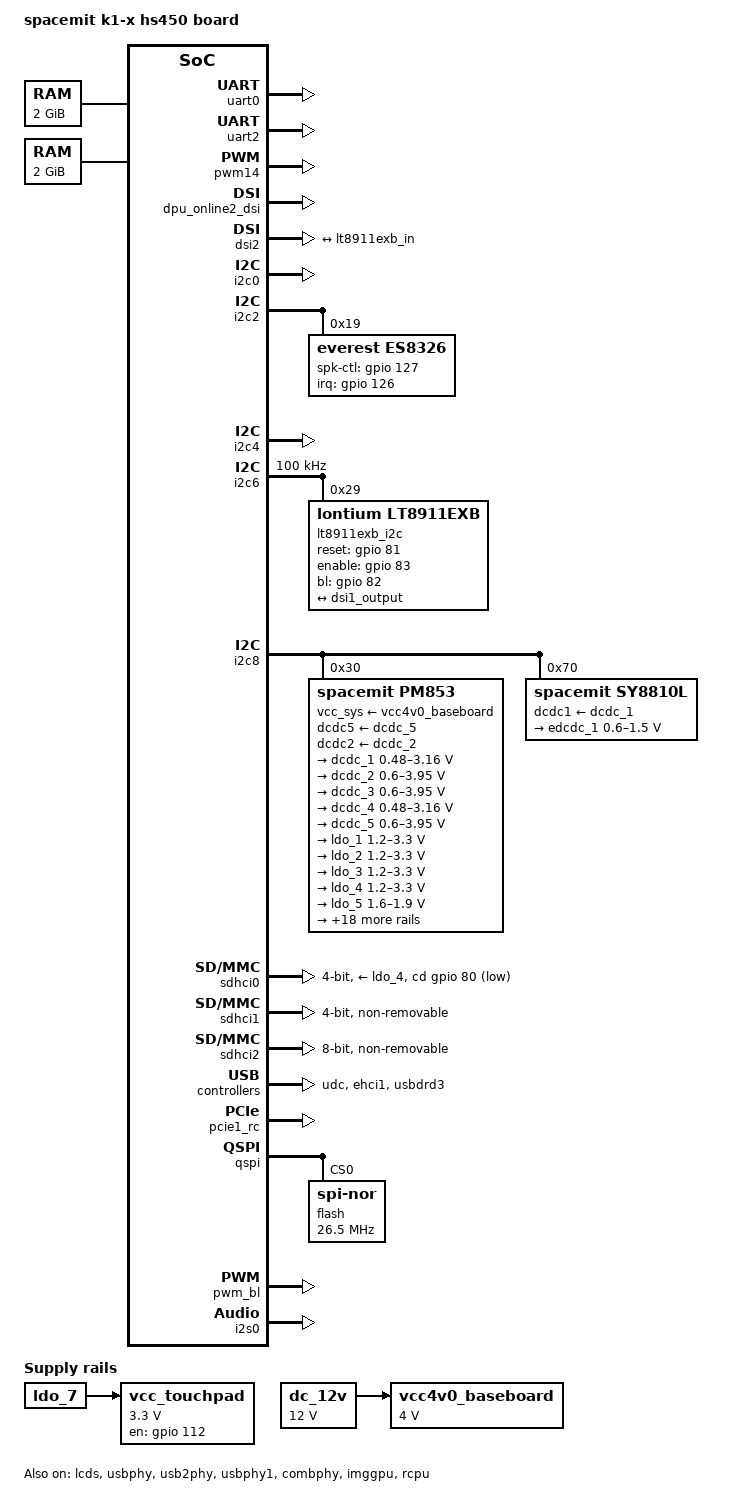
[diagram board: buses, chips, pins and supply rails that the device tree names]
// SPDX-License-Identifier: (GPL-2.0 OR MIT)
/* Copyright (c) 2023 Spacemit, Inc */

/dts-v1/;

#include "k1-x.dtsi"
#include "k1-x_pinctrl.dtsi"
#include "lcd/lcd_lt8911_edp_1920x1200.dtsi"
#include "k1-x-lcd.dtsi"
#include "k1-x-hdmi.dtsi"

/ {
	model = "spacemit k1-x hs450 board";

	cpus: cpus {
		#address-cells = <1>;
		#size-cells = <0>;
		timebase-frequency = <24000000>;

		cpu_0: cpu@0 {
			cpu-ai = "true";
		};

		cpu_1: cpu@1 {
			cpu-ai = "true";
		};

		cpu_2: cpu@2 {
			reg = <2>;
			cpu-ai = "true";
		};

		cpu_3: cpu@3 {
			reg = <3>;
			cpu-ai = "true";
		};

		cpu-map {
			cluster0 {
				core0 {
					cpu = <&cpu_0>;
				};

				core1 {
					cpu = <&cpu_1>;
				};

				core2 {
					cpu = <&cpu_2>;
				};

				core3 {
					cpu = <&cpu_3>;
				};
			};

			cluster1 {
				core0 {
					cpu = <&cpu_4>;
				};

				core1 {
					cpu = <&cpu_5>;
				};

				core2 {
					cpu = <&cpu_6>;
				};

				core3 {
					cpu = <&cpu_7>;
				};
			};
		};
	};

	memory@0 {
		device_type = "memory";
		reg = <0x0 0x00000000 0x0 0x80000000>;
	};

	memory@100000000 {
		device_type = "memory";
		reg = <0x1 0x00000000 0x0 0x80000000>;
	};

	reserved-memory {
		#address-cells = <2>;
		#size-cells = <2>;
		ranges;

		linux,cma {
			compatible = "shared-dma-pool";
			/* alloc memory from 0x40000000~0x80000000 */
			alloc-ranges = <0 0x40000000 0 0x40000000>;
			/* size of cma buffer is 384MByte */
			size = <0 0x18000000>;
			/* start address is 1Mbyte aligned */
			alignment = <0x0 0x100000>;
			linux,cma-default;
			/* besides hardware, dma for ex. buffer can be used by memory management */
			reusable;
		};

		/* reserved 384K for dpu, including mmu table(256K) and cmdlist(128K) */
		dpu_resv: dpu_reserved@2ff40000 {
			compatible = "shared-dma-pool";
			reg = <0x0 0x2ff40000 0x0 0x000C0000>;
			no-map;
		};
	};

	chosen {
		bootargs = "earlycon=sbi console=ttyS0,115200n8 debug loglevel=8 swiotlb=65536 rdinit=/init";
		stdout-path = "serial0:115200n8";
	};

	dc_12v: dc-12v {
		compatible = "regulator-fixed";
		regulator-name = "dc_12v";
		regulator-always-on;
		regulator-boot-on;
		regulator-min-microvolt = <12000000>;
		regulator-max-microvolt = <12000000>;
	};

	vcc4v0_baseboard: vcc4v0-baseboard {
		compatible = "regulator-fixed";
		regulator-name = "vcc4v0_baseboard";
		regulator-always-on;
		regulator-boot-on;
		regulator-min-microvolt = <4000000>;
		regulator-max-microvolt = <4000000>;
		vin-supply = <&dc_12v>;
	};

	vcc_touchpad: vcc-touchpad {
		compatible = "regulator-fixed";
		regulator-name = "vcc_touchpad";
		regulator-min-microvolt = <3300000>;
		regulator-max-microvolt = <3300000>;
		enable-active-high;
		regulator-boot-on;
		gpios = <&gpio 112 0>;
		vin-supply = <&ldo_7>;
	};
};

&uart0 {
	pinctrl-names = "default";
	pinctrl-0 = <&pinctrl_uart0_2>;
	status = "okay";
};

&uart2 {
	pinctrl-names = "default";
	pinctrl-0 = <&pinctrl_uart2>;
	status = "okay";
};

&pwm14 {
	pinctrl-names = "default";
	pinctrl-0 = <&pinctrl_pwm14_1>;
	status = "okay";
};

&dpu_online2_dsi {
	memory-region = <&dpu_resv>;
	spacemit-dpu-bitclk = <1000000000>;
	dsi_1v2-supply = <&ldo_17>;
	vin-supply-names = "dsi_1v2";
	status = "okay";
};

&dsi2 {
	status = "okay";
	force-attached = "lcd_lt8911_edp_1920x1200";

	ports {
		#address-cells = <1>;
		#size-cells = <0>;

		port@0 {
			reg = <0>;
			#address-cells = <1>;
			#size-cells = <0>;

			dsi1_output: endpoint@1 {
				reg = <1>;
				remote-endpoint = <&lt8911exb_in>;
			};
		};
	};

	edp_panel: panel@0 {
			status = "ok";
			// compatible = "spacemit,edp-panel";
	};

};

&lcds {
	status = "okay";
};

&dpu_online2_hdmi {
	memory-region = <&dpu_resv>;
	status = "disabled";
};

&hdmi{
	pinctrl-names = "default";
	pinctrl-0 = <&pinctrl_hdmi_0>;
	use-no-edid;
	status = "disabled";
};

&i2c0 {
	pinctrl-names = "default";
	pinctrl-0 = <&pinctrl_i2c0>;
	status = "okay";
};

&i2c1 {
	pinctrl-names = "default";
	pinctrl-0 = <&pinctrl_i2c1>;
	status = "disabled";
};

&i2c2 {
	pinctrl-names = "default";
	pinctrl-0 = <&pinctrl_i2c2_0>;
	status = "okay";

	es8326: es8326@19{
		compatible = "everest,es8326";
		reg = <0x19>;
		#sound-dai-cells = <0>;
		interrupt-parent = <&gpio>;
		interrupts = <126 1>;
		spk-ctl-gpio = <&gpio 127 0>;
		everest,jack-detect-inverted;
		everest,mic1-src = [44];
		everest,mic2-src = [66];
		status = "okay";
	};
};

&i2c4 {
	pinctrl-names = "default";
	pinctrl-0 = <&pinctrl_i2c4_2>;
	status = "okay";

	touchpad: hid@2c {
		compatible = "hid-over-i2c";
		reg = <0x2c>;
		hid-descr-addr = <0x0020>;
		post-power-on-delay-ms = <200>;

		vdd-supply = <&vcc_touchpad>;
		interrupt-parent = <&gpio>;
		interrupts = <62 2>;
		status = "okay";

	};
};

&i2c6 {
	pinctrl-names = "default";
	pinctrl-0 = <&pinctrl_i2c6_2>;
	clock-frequency = <100000>;
	status = "okay";

	lt8911exb_i2c@29 {
		compatible = "lontium,lt8911exb";
		reg = <0x29>;

		reset-gpio = <&gpio 81 0>;
		enable-gpio = <&gpio 83 0>;
		bl-gpio = <&gpio 82 0>;

		status = "okay";

		port {
				lt8911exb_in: endpoint {
					remote-endpoint = <&dsi1_output>;
				};
			};
	};
};

&i2c8 {
	pinctrl-names = "default";
	pinctrl-0 = <&pinctrl_i2c8>;
	status = "okay";

	pm853: pmic@30 {
		compatible = "spacemit,pm853";
		reg = <0x30>;

		vcc_sys-supply = <&vcc4v0_baseboard>;
		dcdc5-supply = <&dcdc_5>;
		dcdc2-supply = <&dcdc_2>;

		regulators {
			compatible = "pmic,regulator,pm853";

			/* buck */
			dcdc_1: DCDC_REG1 {
				regulator-name = "dcdc1";
				regulator-min-microvolt = <480000>;
				regulator-max-microvolt = <3160000>;
				regulator-always-on;
			};

			dcdc_2: DCDC_REG2 {
				regulator-name = "dcdc2";
				regulator-min-microvolt = <600000>;
				regulator-max-microvolt = <3950000>;
				regulator-always-on;
			};

			dcdc_3: DCDC_REG3 {
				regulator-name = "dcdc3";
				regulator-min-microvolt = <600000>;
				regulator-max-microvolt = <3950000>;
			};

			dcdc_4: DCDC_REG4 {
				regulator-name = "dcdc4";
				regulator-min-microvolt = <480000>;
				regulator-max-microvolt = <3160000>;
				regulator-always-on;
			};

			dcdc_5: DCDC_REG5 {
				regulator-name = "dcdc5";
				regulator-min-microvolt = <600000>;
				regulator-max-microvolt = <3950000>;
				regulator-always-on;
			};

			/* ldo */
			ldo_1: LDO_REG1 {
				regulator-name = "ldo1";
				regulator-min-microvolt = <1200000>;
				regulator-max-microvolt = <3300000>;
			};

			ldo_2: LDO_REG2 {
				regulator-name = "ldo2";
				regulator-min-microvolt = <1200000>;
				regulator-max-microvolt = <3300000>;
				regulator-always-on;
			};

			ldo_3: LDO_REG3 {
				regulator-name = "ldo3";
				regulator-min-microvolt = <1200000>;
				regulator-max-microvolt = <3300000>;
			};

			ldo_4: LDO_REG4 {
				regulator-name = "ldo4";
				regulator-min-microvolt = <1200000>;
				regulator-max-microvolt = <3300000>;
			};

			ldo_5: LDO_REG5 {
				regulator-name = "ldo5";
				regulator-min-microvolt = <1600000>;
				regulator-max-microvolt = <1900000>;
				regulator-always-on;
			};

			ldo_6: LDO_REG6 {
				regulator-name = "ldo6";
				regulator-min-microvolt = <1200000>;
				regulator-max-microvolt = <3300000>;
			};

			ldo_7: LDO_REG7 {
				regulator-name = "ldo7";
				regulator-min-microvolt = <1200000>;
				regulator-max-microvolt = <1950000>;
				regulator-always-on;
			};

			ldo_8: LDO_REG8 {
				regulator-name = "ldo8";
				regulator-min-microvolt = <1200000>;
				regulator-max-microvolt = <3300000>;
			};

			ldo_9: LDO_REG9 {
				regulator-name = "ldo9";
				regulator-min-microvolt = <1200000>;
				regulator-max-microvolt = <3300000>;
				regulator-always-on;
			};

			ldo_10: LDO_REG10 {
				regulator-name = "ldo10";
				regulator-min-microvolt = <1200000>;
				regulator-max-microvolt = <3300000>;
			};

			ldo_11: LDO_REG11 {
				regulator-name = "ldo11";
				regulator-min-microvolt = <1200000>;
				regulator-max-microvolt = <1950000>;
			};

			ldo_12: LDO_REG12 {
				regulator-name = "ldo12";
				regulator-min-microvolt = <1200000>;
				regulator-max-microvolt = <3300000>;
			};

			ldo_13: LDO_REG13 {
				regulator-name = "ldo13";
				regulator-min-microvolt = <1200000>;
				regulator-max-microvolt = <3300000>;
			};

			ldo_14: LDO_REG14 {
				regulator-name = "ldo14";
				regulator-min-microvolt = <1200000>;
				regulator-max-microvolt = <3300000>;
				regulator-always-on;
			};

			ldo_15: LDO_REG15 {
				regulator-name = "ldo15";
				regulator-min-microvolt = <1200000>;
				regulator-max-microvolt = <1950000>;
			};

			ldo_16: LDO_REG16 {
				regulator-name = "ldo16";
				regulator-min-microvolt = <1200000>;
				regulator-max-microvolt = <3300000>;
			};

			ldo_17: LDO_REG17 {
				regulator-name = "ldo17";
				regulator-min-microvolt = <100000>;
				regulator-max-microvolt = <1350000>;
			};

			ldo_18: LDO_REG18 {
				regulator-name = "ldo18";
				regulator-min-microvolt = <1200000>;
				regulator-max-microvolt = <1950000>;
				regulator-always-on;
			};

			ldo_19: LDO_REG19 {
				regulator-name = "ldo19";
				regulator-min-microvolt = <100000>;
				regulator-max-microvolt = <1350000>;
				regulator-always-on;
			};

			ldo_20: LDO_REG20 {
				regulator-name = "ldo20";
				regulator-min-microvolt = <100000>;
				regulator-max-microvolt = <1350000>;
			};

			ldo_21: LDO_REG21 {
				regulator-name = "ldo21";
				regulator-min-microvolt = <1200000>;
				regulator-max-microvolt = <1950000>;
			};

			ldo_22: LDO_REG22 {
				regulator-name = "ldo22";
				regulator-min-microvolt = <100000>;
				regulator-max-microvolt = <1350000>;
			};

			sw_1: SWITCH_REG1 {
				regulator-name = "switch1";
			};
		};
	};

	sy8810l: sy8810l@70 {
		compatible = "spacemit,sy8810l";
		reg = <0x70>;

		dcdc1-supply = <&dcdc_1>;

		regulators {
			compatible = "pmic,regulator,sy8810l";

			edcdc_1: EDCDC_REG1 {
				regulator-name = "edcdc1";
				regulator-min-microvolt = <600000>;
				regulator-max-microvolt = <1500000>;
				regulator-always-on;
			};
		};
	};
};

&pinctrl {
	pinctrl-single,gpio-range = <
		&range GPIO_49  2 (MUX_MODE0 | EDGE_NONE | PULL_UP   | PAD_3V_DS4)
		&range GPIO_58  1 (MUX_MODE0 | EDGE_NONE | PULL_DOWN | PAD_1V8_DS2)
		&range GPIO_62  1 (MUX_MODE0 | EDGE_NONE | PULL_UP   | PAD_3V_DS4)
		&range GPIO_63  2 (MUX_MODE0 | EDGE_NONE | PULL_DOWN | PAD_1V8_DS2)
		&range GPIO_65  1 (MUX_MODE0 | EDGE_NONE | PULL_UP   | PAD_1V8_DS2)
		&range GPIO_66  2 (MUX_MODE0 | EDGE_NONE | PULL_DOWN | PAD_1V8_DS2)
		&range GPIO_74  1 (MUX_MODE0 | EDGE_NONE | PULL_UP   | PAD_1V8_DS2)
		&range GPIO_80  1 (MUX_MODE0 | EDGE_NONE | PULL_UP   | PAD_3V_DS4)
		&range GPIO_81  3 (MUX_MODE0 | EDGE_NONE | PULL_UP   | PAD_1V8_DS2)
		&range GPIO_90  1 (MUX_MODE0 | EDGE_NONE | PULL_DOWN | PAD_1V8_DS2)
		&range GPIO_91  2 (MUX_MODE0 | EDGE_NONE | PULL_UP   | PAD_1V8_DS2)
		&range DVL0     2 (MUX_MODE1 | EDGE_NONE | PULL_DOWN | PAD_1V8_DS2)
		&range GPIO_110 1 (MUX_MODE0 | EDGE_NONE | PULL_DOWN | PAD_1V8_DS2)
		&range GPIO_112 2 (MUX_MODE0 | EDGE_NONE | PULL_UP   | PAD_3V_DS4)
		&range GPIO_114 1 (MUX_MODE0 | EDGE_NONE | PULL_DOWN | PAD_1V8_DS2)
		&range GPIO_115 3 (MUX_MODE0 | EDGE_NONE | PULL_DOWN | PAD_1V8_DS2)
		&range GPIO_123 1 (MUX_MODE0 | EDGE_NONE | PULL_DOWN | PAD_1V8_DS2)
		&range GPIO_125 3 (MUX_MODE0 | EDGE_NONE | PULL_DOWN | PAD_1V8_DS2)
	>;

	pinctrl_rcpu: pinctrl_rcpu_grp {
		pinctrl-single,pins = <
			K1X_PADCONF(GPIO_47,   MUX_MODE1, (EDGE_NONE | PULL_UP | PAD_3V_DS4))	/* r_uart0_tx */
			K1X_PADCONF(GPIO_48,   MUX_MODE1, (EDGE_NONE | PULL_UP | PAD_3V_DS4))	/* r_uart0_rx */
		>;
	};
};

&gpio{
	gpio-ranges = <
		&pinctrl 49  GPIO_49  2
		&pinctrl 58  GPIO_58  1
		&pinctrl 62  GPIO_62  6
		&pinctrl 74  GPIO_74  1
		&pinctrl 80  GPIO_80  4
		&pinctrl 90  GPIO_90  3
		&pinctrl 96  DVL0     2
		&pinctrl 110 GPIO_110 1
		&pinctrl 112 GPIO_112 1
		&pinctrl 114 GPIO_114 4
		&pinctrl 123 GPIO_123 1
		&pinctrl 125 GPIO_125 3
	>;
};

/* SD */
&sdhci0 {
	pinctrl-names = "default","fast";
	pinctrl-0 = <&pinctrl_mmc1>;
	pinctrl-1 = <&pinctrl_mmc1_fast>;
	bus-width = <4>;
	cd-gpios = <&gpio 80 0>;
	cd-inverted;
	vmmc-supply = <&ldo_4>;
	vqmmc-supply = <&ldo_9>;
	no-mmc;
	no-sdio;
	spacemit,sdh-host-caps-disable = <(
			MMC_CAP_UHS_SDR12 |
			MMC_CAP_UHS_SDR25
			)>;
	spacemit,sdh-quirks = <(
			SDHCI_QUIRK_BROKEN_CARD_DETECTION |
			SDHCI_QUIRK_INVERTED_WRITE_PROTECT |
			SDHCI_QUIRK_BROKEN_TIMEOUT_VAL
			)>;
	spacemit,sdh-quirks2 = <(
			SDHCI_QUIRK2_PRESET_VALUE_BROKEN |
			SDHCI_QUIRK2_BROKEN_PHY_MODULE |
			SDHCI_QUIRK2_SET_AIB_MMC
			)>;
	spacemit,aib_mmc1_io_reg = <0xD401E81C>;
	spacemit,apbc_asfar_reg = <0xD4015050>;
	spacemit,apbc_assar_reg = <0xD4015054>;
	spacemit,rx_dline_reg = <0x0>;
	spacemit,tx_dline_reg = <0x0>;
	spacemit,tx_delaycode = <0x7f>;
	spacemit,rx_tuning_limit = <50>;
	spacemit,sdh-freq = <204800000>;
	status = "okay";
};

/* SDIO */
&sdhci1 {
	pinctrl-names = "default";
	pinctrl-0 = <&pinctrl_mmc2>;
	bus-width = <4>;
	non-removable;
	vqmmc-supply = <&ldo_7>;
	no-mmc;
	no-sd;
	keep-power-in-suspend;
	/* bcmdhd use private oob solution rather than dat1/standard wakeup */
	/delete-property/ enable-sdio-wakeup;
	spacemit,sdh-host-caps-disable = <(
			MMC_CAP_UHS_DDR50 |
			MMC_CAP_NEEDS_POLL
			)>;
	spacemit,sdh-quirks = <(
			SDHCI_QUIRK_BROKEN_CARD_DETECTION |
			SDHCI_QUIRK_BROKEN_TIMEOUT_VAL
			)>;
	spacemit,sdh-quirks2 = <(
			SDHCI_QUIRK2_PRESET_VALUE_BROKEN |
			SDHCI_QUIRK2_BROKEN_PHY_MODULE
			)>;
	spacemit,rx_dline_reg = <0x01>;
	spacemit,rx_tuning_limit = <50>;
	spacemit,sdh-freq = <204800000>;
	status = "okay";
};

/* eMMC */
&sdhci2 {
	bus-width = <8>;
	non-removable;
	mmc-hs400-1_8v;
	mmc-hs400-enhanced-strobe;
	no-sd;
	no-sdio;
	spacemit,sdh-quirks = <(
			SDHCI_QUIRK_BROKEN_CARD_DETECTION |
			SDHCI_QUIRK_BROKEN_TIMEOUT_VAL
			)>;
	spacemit,sdh-quirks2 = <(
			SDHCI_QUIRK2_PRESET_VALUE_BROKEN
			)>;
	spacemit,sdh-freq = <375000000>;
	status = "okay";
};

&usbphy {
	status = "okay";
};

&udc {
	/*spacemit,udc-mode = <MV_USB_MODE_OTG>;
	spacemit,extern-attr = <MV_USB_HAS_VBUS_IDPIN_DETECTION>;*/
	spacemit,udc-mode = <MV_USB_MODE_UDC>;
	status = "okay";
};

&usb2phy {
	status = "okay";
};

&usbphy1 {
	status = "okay";
};

&ehci1 {
	status = "okay";
};

&combphy {
	status = "okay";
};

&usbdrd3 {
	status = "okay";
	dwc3@c0a00000 {
		dr_mode = "host";
		phy_type = "utmi";
		snps,hsphy_interface = "utmi";
		snps,dis_enblslpm_quirk;
		snps,dis-u1u2-quirk;
		snps,dis-u2-freeclk-exists-quirk;
		snps,dis-del-phy-power-chg-quirk;
		snps,dis_u2_susphy_quirk;
		snps,dis_u3_susphy_quirk;
		snps,dis_rxdet_inp3_quirk;
		snps,xhci-trb-ent-quirk;
	};
};

&pcie1_rc {
	pinctrl-names = "default";
	pinctrl-0 = <&pinctrl_pcie1_3>;
	status = "okay";
};

&imggpu {
	status = "okay";
};

&qspi {
	pinctrl-names = "default";
	pinctrl-0 = <&pinctrl_qspi>;
	status = "okay";

	flash@0 {
		compatible = "jedec,spi-nor";
		reg = <0>;
		spi-max-frequency = <26500000>;
		m25p,fast-read;
		broken-flash-reset;
		status = "okay";
	};
};

&pwm_bl {
	pwms = <&pwm14 2000>;
	brightness-levels = <
		0   60  60  60  60  60  60  60  60  60  60  60  60  60  60  60
		60  60  60  60  60  60  60  60  60  60  60  60  60  60  60  60
		60  60  60  60  60  60  60  60  60  60  60  60  60  60  60  60
		60  60  60  60  60  60  60  60  60  60  60  60  60  61  62  63
		64  65  66  67  68  69  70  71  72  73  74  75  76  77  78  79
		80  81  82  83  84  85  86  87  88  89  90  91  92  93  94  95
		96  97  98  99  100 101 102 103 104 105 106 107 108 109 110 111
		112 113 114 115 116 117 118 119 120 121 122 123 124 125 126 127
		128 129 130 131 132 133 134 135 136 137 138 139 140 141 142 143
		144 145 146 147 148 149 150 151 152 153 154 155 156 157 158 159
		160 161 162 163 164 165 166 167 168 169 170 171 172 173 174 175
		176 177 178 179 180 181 182 183 184 185 186 187 188 189 190 191
		192 193 194 195 196 197 198 199 200 201 202 203 204 205 206 207
		208 209 210 211 212 213 214 215 216 217 218 219 220 221 222 223
		224 225 226 227 228 229 230 231 232 233 234 235 236 237 238 239
		240 241 242 243 244 245 246 247 248 249 250 251 252 253 254 255
	>;
	default-brightness-level = <128>;

	status = "okay";
};

&cpu_0 {
	clst0-supply = <&edcdc_1>;
	vin-supply-names = "clst0";
};

&clst0_core_opp_table {
	opp1600000000 {
		opp-microvolt = <1050000>;
	};
};

&clst1_core_opp_table {
	opp1600000000 {
		opp-microvolt = <1050000>;
	};
};

&rcpu {
	pinctrl-names = "default";
	pinctrl-0 = <&pinctrl_rcpu>;
	mboxes = <&mailbox 0>, <&mailbox 1>;
	mbox-names = "vq0", "vq1";
	interconnects = <&dram_range0>;
	interconnect-names = "dma-mem";
	memory-region = <&rcpu_mem_0>, <&vdev0vring0>, <&vdev0vring1>, <&vdev0buffer>, <&rsc_table>, <&rcpu_mem_snapshots>;
	status = "okay";
};

&cls0_trip2 {
	temperature = <115000>;
};

&cls1_trip2 {
	temperature = <115000>;
};

&i2s0 {
        pinctrl-names = "default";
        pinctrl-0 = <&pinctrl_sspa0_0>;
        status = "okay";
};

&sound_hdmi {
	status = "okay";
};

&sound_es8326 {
	status = "okay";
	simple-audio-card,codec {
		sound-dai = <&es8326>;
	};
};

&watchdog {
	spa,wdt-enable-restart-handler;
};
